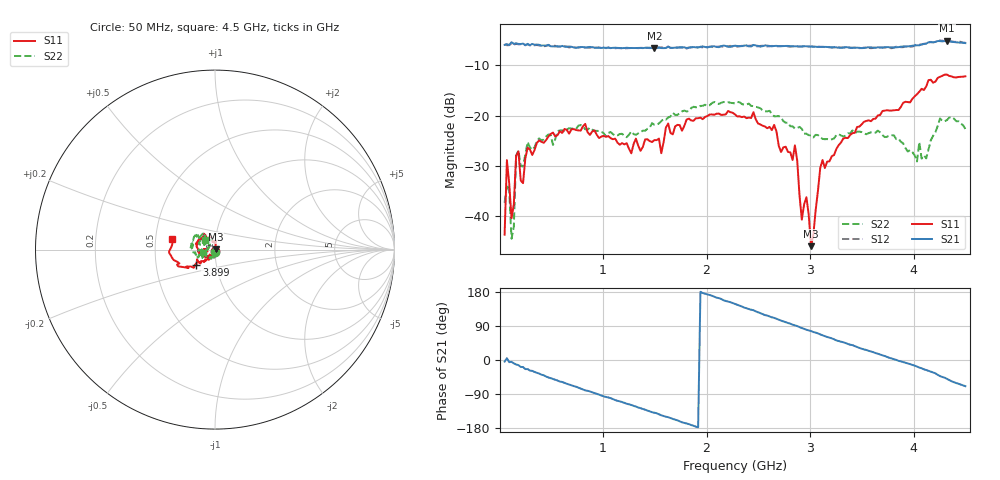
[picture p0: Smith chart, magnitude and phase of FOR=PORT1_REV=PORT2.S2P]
! Network Analyzer HP8722ES.07.74: Oct 30, 2002 Serial No. US39175660
! Hewlett-Packard
! 30 May 2012  16:58:23
! Frequency  S11  S21  S12  S22
# HZ  S  DB R  50
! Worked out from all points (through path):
!   201 points, 50 MHz to 4.5 GHz, reference 50 ohm
!   highest |S21| = -5.11 dB at 4.322 GHz (marker M1); lowest = -6.6 dB at 1.496 GHz (marker M2)
!   group delay of S21, straight-line fit = 263 ps
!   lowest |S11| = -45.9 dB at 3.009 GHz (marker M3), VSWR 1.01, Z = 50.5 + j0.207 ohm
!   |S11| at or under -10 dB: start of sweep to end of sweep
!   |S22| runs from -44.4 to -17.3 dB; largest |S21 - S12| = 0.022
!   S11 on the Smith chart (normalised r, x): 50 MHz: 1.00, -0.01; 3.899 GHz: 0.80, -0.14; 4.5 GHz: 0.61, +0.08
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5e7  -43.62 -99.6  -5.92 -4.3  -5.88 -3.7  -37.30 -81.8
7.225e7  -28.82 -58.6  -5.78 4.6  -6.01 2.7  -33.64 -81.2
1.1675e8  -40.36 172.9  -5.40 -4.9  -5.67 -5.8  -44.43 145.8
1.6125e8  -27.97 -93.3  -5.60 -11.7  -5.74 -13.0  -27.94 -92.0
1.835e8  -27.08 -95.0  -5.74 -13.6  -5.82 -15.1  -26.89 -100.3
2.28e8  -33.39 -144.9  -5.68 -18.5  -5.79 -19.7  -30.11 -106.5
2.725e8  -26.33 -111.1  -5.73 -23.9  -5.84 -24.2  -25.23 -111.3
8.065e8  -22.11 -171.4  -6.36 -77.9  -6.37 -78.2  -22.16 -170.6
1.49625e9  -24.85 -162.4  -6.59 -139.2  -6.54 -139.2  -21.81 -160.9
1.54075e9  -24.55 -161.6  -6.44 -143.1  -6.52 -143.8  -21.53 -160.1
2.275e9  -19.73 144.8  -6.09 147.8  -6.34 148.1  -17.55 156.4
2.8535e9  -25.88 84.9  -6.21 91.5  -6.21 91.2  -22.55 126.5
2.92025e9  -40.64 77.4  -6.22 84.3  -6.27 84.3  -22.61 115.4
2.96475e9  -36.19 28.5  -6.20 79.8  -6.18 79.5  -23.57 132.1
3.00925e9  -45.91 23.9  -6.25 76.5  -6.27 77.0  -23.90 117.1
3.0315e9  -43.70 -52.4  -6.29 73.8  -6.28 74.0  -24.33 127.0
3.1205e9  -28.79 -106.3  -6.32 65.2  -6.35 64.8  -24.61 134.5
3.76575e9  -18.97 -139.0  -6.40 5.8  -6.55 5.7  -23.89 132.2
3.89925e9  -17.43 -140.5  -6.24 -5.4  -6.39 -5.0  -25.50 117.2
4.12175e9  -14.18 -149.6  -5.66 -26.4  -5.70 -25.2  -28.48 159.1
4.322e9  -11.84 -177.8  -5.11 -49.8  -5.18 -49.7  -20.87 158.8
4.5e9  -12.17 165.8  -5.58 -69.1  -5.51 -69.6  -22.62 136.2
